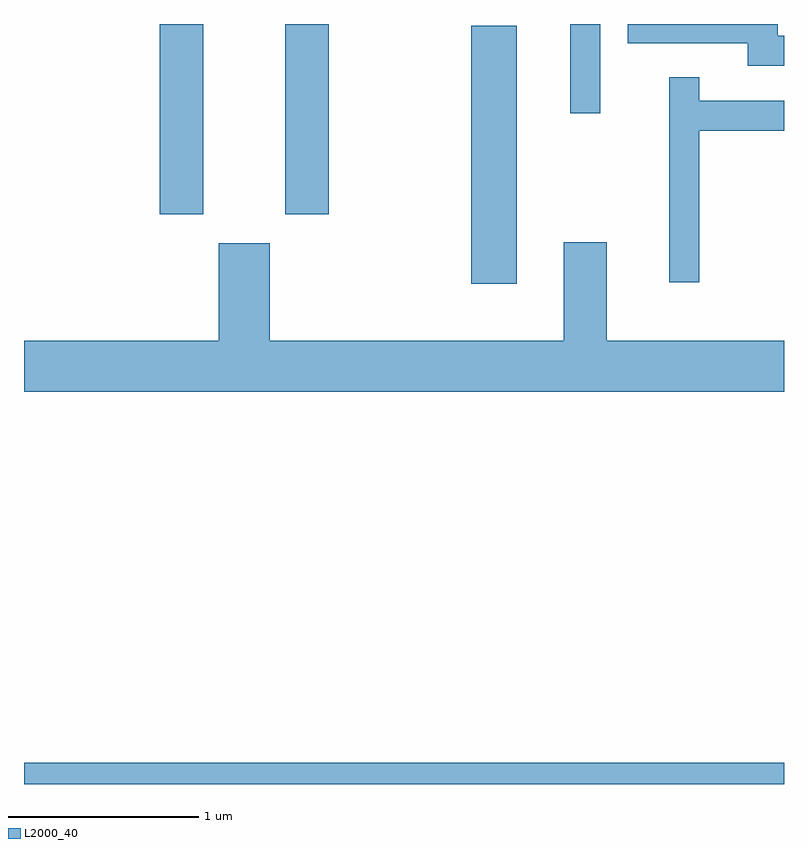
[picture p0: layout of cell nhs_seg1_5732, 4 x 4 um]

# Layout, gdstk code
import gdstk
lib = gdstk.Library(unit=1e-6, precision=1e-09)
def R(c, l, rs):  # rectangles x0, y0, x1, y1
    for r in rs: c.add(gdstk.rectangle(r[:2], r[2:], *l))
def P(c, l, *ps):  # polygons
    for p in ps: c.add(gdstk.Polygon(p, *l))
L2000_40 = (2000, 40)

nhs_seg1_5732 = lib.new_cell('nhs_seg1_5732')
R(nhs_seg1_5732, L2000_40, [(357.611,919.712,361.611,919.824), (359.966,922.346,360.204,923.704), (358.326,922.711,358.554,923.712), (358.986,922.711,359.214,923.712), (360.486,923.243,360.644,923.712)])
P(nhs_seg1_5732, L2000_40, [(361.611,923.649),(361.579,923.649),(361.579,923.712),(360.788,923.712),(360.788,923.611),(361.421,923.611),(361.421,923.491),(361.611,923.491)],
  [(361.164,923.151),(361.611,923.151),(361.611,923.309),(361.164,923.309),(361.164,923.433),(361.006,923.433),(361.006,922.353),(361.164,922.353)],
  [(361.611,922.044),(360.679,922.044),(360.679,922.564),(360.451,922.564),(360.451,922.044),(358.904,922.044),(358.904,922.559),(358.636,922.559),(358.636,922.044),(357.611,922.044),(357.611,921.776),(361.611,921.776)])

lib.write_gds('nhs_seg1_5732.gds')
